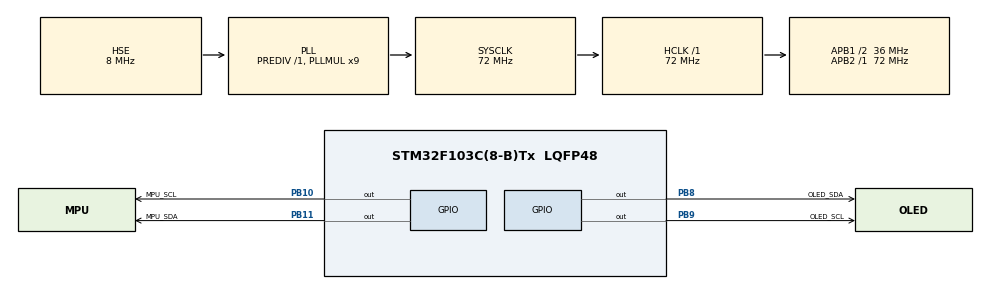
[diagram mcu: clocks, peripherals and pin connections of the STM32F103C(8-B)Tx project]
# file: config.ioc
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Mcu.Family=STM32F1
Mcu.Name=STM32F103C(8-B)Tx
Mcu.Package=LQFP48
NVIC.PriorityGroup=NVIC_PRIORITYGROUP_4
PA13.Mode=Serial_Wire
PA13.Signal=SYS_JTMS-SWDIO
PA14.Mode=Serial_Wire
PA14.Signal=SYS_JTCK-SWCLK
PB10.GPIO_Label=MPU_SCL
PB10.GPIO_ModeDefaultOutputPP=GPIO_MODE_OUTPUT_OD
PB10.GPIO_PuPd=GPIO_NOPULL
PB10.GPIO_Speed=GPIO_SPEED_FREQ_HIGH
PB10.PinState=GPIO_PIN_SET
PB10.Signal=GPIO_Output
PB11.GPIO_Label=MPU_SDA
PB11.GPIO_ModeDefaultOutputPP=GPIO_MODE_OUTPUT_OD
PB11.GPIO_PuPd=GPIO_NOPULL
PB11.GPIO_Speed=GPIO_SPEED_FREQ_HIGH
PB11.PinState=GPIO_PIN_SET
PB11.Signal=GPIO_Output
PB8.GPIO_Label=OLED_SDA
PB8.GPIO_ModeDefaultOutputPP=GPIO_MODE_OUTPUT_OD
PB8.GPIO_PuPd=GPIO_NOPULL
PB8.GPIO_Speed=GPIO_SPEED_FREQ_HIGH
PB8.PinState=GPIO_PIN_SET
PB8.Signal=GPIO_Output
PB9.GPIO_Label=OLED_SCL
PB9.GPIO_ModeDefaultOutputPP=GPIO_MODE_OUTPUT_OD
PB9.GPIO_PuPd=GPIO_NOPULL
PB9.GPIO_Speed=GPIO_SPEED_FREQ_HIGH
PB9.PinState=GPIO_PIN_SET
PB9.Signal=GPIO_Output
PD0-OSC_IN.Mode=HSE-External-Oscillator
PD0-OSC_IN.Signal=RCC_OSC_IN
PD1-OSC_OUT.Mode=HSE-External-Oscillator
PD1-OSC_OUT.Signal=RCC_OSC_OUT
ProjectManager.HeapSize=0x200
ProjectManager.StackSize=0x400
ProjectManager.TargetToolchain=CMake
RCC.AHBFreq_Value=72000000
RCC.APB1CLKDivider=RCC_HCLK_DIV2
RCC.APB1Freq_Value=36000000
RCC.APB1TimFreq_Value=72000000
RCC.APB2Freq_Value=72000000
RCC.APB2TimFreq_Value=72000000
RCC.HCLKFreq_Value=72000000
RCC.PLLMUL=RCC_PLL_MUL9
RCC.PLLSourceVirtual=RCC_PLLSOURCE_HSE
RCC.SYSCLKFreq_VALUE=72000000
RCC.SYSCLKSource=RCC_SYSCLKSOURCE_PLLCLK
RCC.USBFreq_Value=72000000
board=custom

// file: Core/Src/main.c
/* USER CODE BEGIN Header */
/**
  ******************************************************************************
  * @file           : main.c
  * @brief          : Main program body
  ******************************************************************************
  * @attention
  *
  * Copyright (c) 2026 STMicroelectronics.
  * All rights reserved.
  *
  * This software is licensed under terms that can be found in the LICENSE file
  * in the root directory of this software component.
  * If no LICENSE file comes with this software, it is provided AS-IS.
  *
  ******************************************************************************
  */
/* USER CODE END Header */
#include "main.h"
#include "gpio.h"
#include "stm32f103xb.h"
#include "stm32f1xx_hal_gpio.h"

/* USER CODE BEGIN Includes */
#include <stdint.h>
#include "OLED.h"
#include "SWI2C.h"
#include "MPU6050.h"

/* USER CODE END Includes */

/* USER CODE BEGIN PV */
int16_t AccX, AccY, AccZ, GyroX, GyroY, GyroZ, Temp;
/* USER CODE END PV */

void SystemClock_Config(void);

int main(void)
{

  /* MCU Configuration--------------------------------------------------------*/

  /* Reset of all peripherals, Initializes the Flash interface and the Systick. */
  HAL_Init();

  /* Configure the system clock */
  SystemClock_Config();

  /* Initialize all configured peripherals */
  MX_GPIO_Init();
  /* USER CODE BEGIN 2 */
  OLED_Init();

  OLED_ShowString(1, 1, "Device ID:");
  MPU6050_Init();
  uint8_t device_id = MPU6050_GetID();
  OLED_ShowHexNum(1, 12, device_id, 2);

  OLED_ShowString(2, 1, "AccX:");
  OLED_ShowString(3, 1, "AccY:");
  OLED_ShowString(4, 1, "AccZ:");
  /* USER CODE END 2 */

  /* Infinite loop */
  /* USER CODE BEGIN WHILE */
  while (1)
  {
    MPU6050_GetData(&AccX, &AccY, &AccZ,
                    &GyroX, &GyroY, &GyroZ,
                    &Temp);
    OLED_ShowSignedNum(2, 7, AccX, 5);
    OLED_ShowSignedNum(3, 7, AccY, 5);
    OLED_ShowSignedNum(4, 7, AccZ, 5);
    HAL_Delay(100);

    /* USER CODE END WHILE */

  }
}

void SystemClock_Config(void)
{
  RCC_OscInitTypeDef RCC_OscInitStruct = {0};
  RCC_ClkInitTypeDef RCC_ClkInitStruct = {0};

  /** Initializes the RCC Oscillators according to the specified parameters
  * in the RCC_OscInitTypeDef structure.
  */
  RCC_OscInitStruct.OscillatorType = RCC_OSCILLATORTYPE_HSE;
  RCC_OscInitStruct.HSEState = RCC_HSE_ON;
  RCC_OscInitStruct.HSEPredivValue = RCC_HSE_PREDIV_DIV1;
  RCC_OscInitStruct.HSIState = RCC_HSI_ON;
  RCC_OscInitStruct.PLL.PLLState = RCC_PLL_ON;
  RCC_OscInitStruct.PLL.PLLSource = RCC_PLLSOURCE_HSE;
  RCC_OscInitStruct.PLL.PLLMUL = RCC_PLL_MUL9;
  if (HAL_RCC_OscConfig(&RCC_OscInitStruct) != HAL_OK)
  {
    Error_Handler();
  }

  /** Initializes the CPU, AHB and APB buses clocks
  */
  RCC_ClkInitStruct.ClockType = RCC_CLOCKTYPE_HCLK|RCC_CLOCKTYPE_SYSCLK
                              |RCC_CLOCKTYPE_PCLK1|RCC_CLOCKTYPE_PCLK2;
  RCC_ClkInitStruct.SYSCLKSource = RCC_SYSCLKSOURCE_PLLCLK;
  RCC_ClkInitStruct.AHBCLKDivider = RCC_SYSCLK_DIV1;
  RCC_ClkInitStruct.APB1CLKDivider = RCC_HCLK_DIV2;
  RCC_ClkInitStruct.APB2CLKDivider = RCC_HCLK_DIV1;

  if (HAL_RCC_ClockConfig(&RCC_ClkInitStruct, FLASH_LATENCY_2) != HAL_OK)
  {
    Error_Handler();
  }
}

void Error_Handler(void)
{
  __disable_irq();
  while (1)
  {
  }
}
